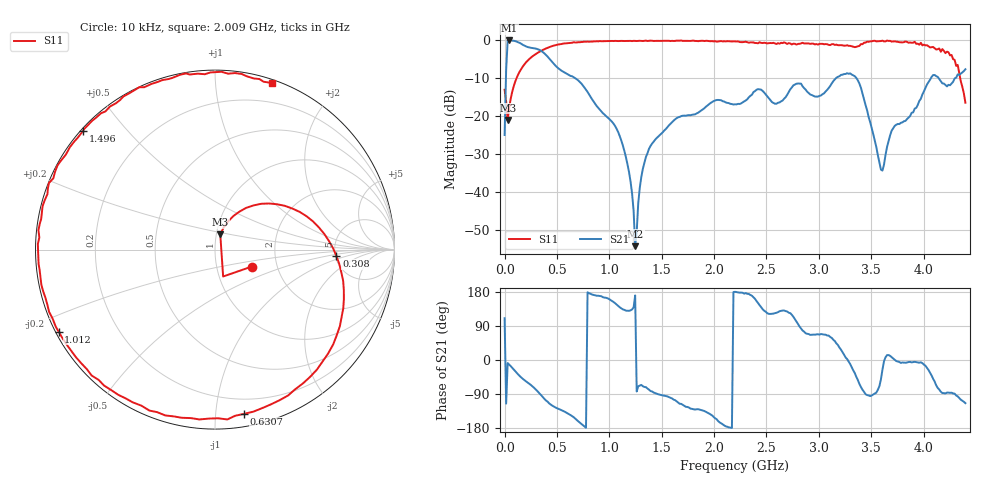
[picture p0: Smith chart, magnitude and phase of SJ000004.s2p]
!File created by NanoVNA-F V2
# Hz S RI R 50
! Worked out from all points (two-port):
!   301 points, 10 kHz to 4.4 GHz, reference 50 ohm
!   highest |S21| = 0.00 dB at 44.01 MHz (marker M1); lowest = -54.2 dB at 1.247 GHz (marker M2)
!   |S21| within 3 dB of the highest: 23.73 MHz to 361.5 MHz (337.8 MHz wide, 175 % of centre)
!   lowest |S11| = -20.9 dB at 29.34 MHz (marker M3), VSWR 1.20, Z = 52.2 + j8.95 ohm
!   |S11| at or under -10 dB: start of sweep to 113.4 MHz; 4.351 GHz to end of sweep
!   S12 and S22 are empty: the file has one direction only
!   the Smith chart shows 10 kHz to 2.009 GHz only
!   S11 on the Smith chart (normalised r, x): 10 kHz: 1.48, -0.30; 308 MHz: 5.11, -0.67; 630.7 MHz: 0.09, -1.19; 1.012 GHz: 0.01, -0.25; 1.496 GHz: 0.01, +0.38; 2.009 GHz: 0.03, +1.40
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10000  0.2035 -0.0951  -0.0197 0.0533  0 0  0 0
1.467663e7  0.0453 -0.15  -0.1719 -0.3682  0 0  0 0
2.934327e7  0.0293 0.085  0.9899 -0.1392  0 0  0 0
4.40099e7  0.0476 0.122  0.9783 -0.2095  0 0  0 0
3.080093e8  0.6764 -0.0353  0.1261 -0.7646  0 0  0 0
6.306752e8  0.1619 -0.9151  -0.2808 -0.1927  0 0  0 0
7.333416e8  -0.187 -0.9368  -0.2657 -0.0512  0 0  0 0
1.012008e9  -0.8713 -0.4574  -0.0824 0.0329  0 0  0 0
1.188007e9  -0.9856 -0.0112  -0.0119 0.0142  0 0  0 0
1.246674e9  -0.9759 0.1456  -0.00193 0.00033  0 0  0 0
1.320007e9  -0.9335 0.3089  0.00726 -0.0191  0 0  0 0
1.466673e9  -0.7836 0.6028  -0.000355 -0.0542  0 0  0 0
1.496007e9  -0.7346 0.662  -0.00243 -0.0589  0 0  0 0
2.009339e9  0.3153 0.9286  -0.1452 -0.0716  0 0  0 0
2.200005e9  0.748 0.6222  -0.1443 0.000158  0 0  0 0
2.478671e9  0.8846 -0.296  -0.1327 0.1577  0 0  0 0
2.933337e9  -0.3642 -0.834  0.0759 0.1754  0 0  0 0
3.300002e9  -0.7701 -0.3594  0.3627 -0.0691  0 0  0 0
3.593335e9  -0.9811 -0.0411  0.0125 -0.0155  0 0  0 0
3.666668e9  -0.982 0.0932  0.0463 0.0106  0 0  0 0
4.150667e9  -0.2656 0.7384  0.0642 -0.3039  0 0  0 0
4.4e9  0.0654 -0.1366  -0.1693 -0.3821  0 0  0 0
